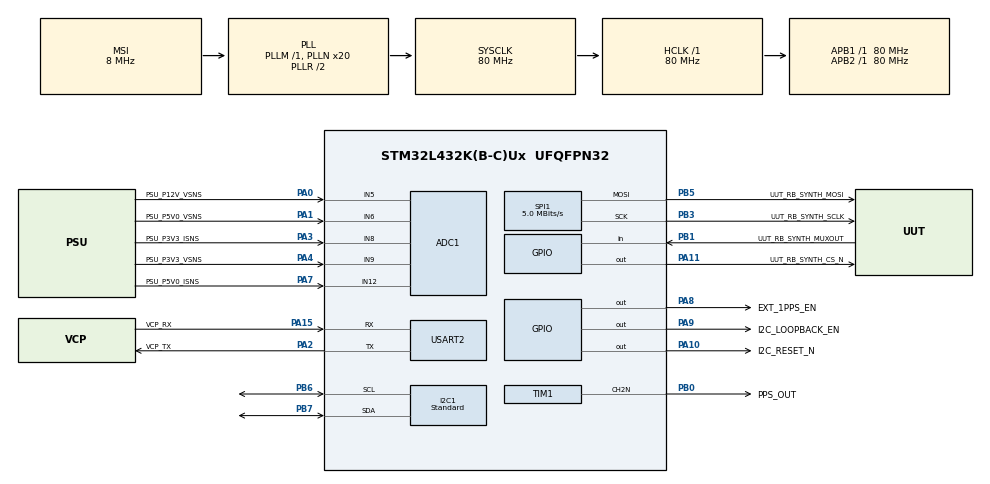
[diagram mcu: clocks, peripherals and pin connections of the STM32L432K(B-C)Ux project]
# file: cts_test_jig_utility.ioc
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ADC1.Channel-0\#ChannelRegularConversion=ADC_CHANNEL_5
ADC1.Channel-1\#ChannelRegularConversion=ADC_CHANNEL_6
ADC1.Channel-2\#ChannelRegularConversion=ADC_CHANNEL_8
ADC1.Channel-3\#ChannelRegularConversion=ADC_CHANNEL_9
ADC1.Channel-4\#ChannelRegularConversion=ADC_CHANNEL_12
ADC1.Channel-5\#ChannelRegularConversion=ADC_CHANNEL_VREFINT
ADC1.NbrOfConversion=6
ADC1.NbrOfConversionFlag=1
ADC1.OffsetNumber-0\#ChannelRegularConversion=ADC_OFFSET_NONE
ADC1.OffsetNumber-1\#ChannelRegularConversion=ADC_OFFSET_NONE
ADC1.OffsetNumber-2\#ChannelRegularConversion=ADC_OFFSET_NONE
ADC1.OffsetNumber-3\#ChannelRegularConversion=ADC_OFFSET_NONE
ADC1.OffsetNumber-4\#ChannelRegularConversion=ADC_OFFSET_NONE
ADC1.OffsetNumber-5\#ChannelRegularConversion=ADC_OFFSET_NONE
ADC1.Rank-0\#ChannelRegularConversion=1
ADC1.Rank-1\#ChannelRegularConversion=2
ADC1.Rank-2\#ChannelRegularConversion=3
ADC1.Rank-3\#ChannelRegularConversion=4
ADC1.Rank-4\#ChannelRegularConversion=5
ADC1.Rank-5\#ChannelRegularConversion=6
ADC1.SamplingTime-0\#ChannelRegularConversion=ADC_SAMPLETIME_47CYCLES_5
ADC1.SamplingTime-1\#ChannelRegularConversion=ADC_SAMPLETIME_47CYCLES_5
ADC1.SamplingTime-2\#ChannelRegularConversion=ADC_SAMPLETIME_47CYCLES_5
ADC1.SamplingTime-3\#ChannelRegularConversion=ADC_SAMPLETIME_47CYCLES_5
ADC1.SamplingTime-4\#ChannelRegularConversion=ADC_SAMPLETIME_47CYCLES_5
ADC1.SamplingTime-5\#ChannelRegularConversion=ADC_SAMPLETIME_47CYCLES_5
ADC1.master=1
Dma.ADC1.2.Direction=DMA_PERIPH_TO_MEMORY
Dma.ADC1.2.Instance=DMA2_Channel3
Dma.ADC1.2.MemDataAlignment=DMA_MDATAALIGN_HALFWORD
Dma.ADC1.2.MemInc=DMA_MINC_ENABLE
Dma.ADC1.2.Mode=DMA_NORMAL
Dma.ADC1.2.PeriphDataAlignment=DMA_PDATAALIGN_HALFWORD
Dma.ADC1.2.PeriphInc=DMA_PINC_DISABLE
Dma.ADC1.2.Priority=DMA_PRIORITY_MEDIUM
Dma.Request0=USART2_RX
Dma.Request1=USART2_TX
Dma.Request2=ADC1
Dma.USART2_RX.0.Direction=DMA_PERIPH_TO_MEMORY
Dma.USART2_RX.0.Instance=DMA1_Channel6
Dma.USART2_RX.0.MemDataAlignment=DMA_MDATAALIGN_BYTE
Dma.USART2_RX.0.MemInc=DMA_MINC_ENABLE
Dma.USART2_RX.0.Mode=DMA_CIRCULAR
Dma.USART2_RX.0.PeriphDataAlignment=DMA_PDATAALIGN_BYTE
Dma.USART2_RX.0.PeriphInc=DMA_PINC_DISABLE
Dma.USART2_RX.0.Priority=DMA_PRIORITY_HIGH
Dma.USART2_TX.1.Direction=DMA_MEMORY_TO_PERIPH
Dma.USART2_TX.1.Instance=DMA1_Channel7
Dma.USART2_TX.1.MemDataAlignment=DMA_MDATAALIGN_BYTE
Dma.USART2_TX.1.MemInc=DMA_MINC_ENABLE
Dma.USART2_TX.1.Mode=DMA_NORMAL
Dma.USART2_TX.1.PeriphDataAlignment=DMA_PDATAALIGN_BYTE
Dma.USART2_TX.1.PeriphInc=DMA_PINC_DISABLE
Dma.USART2_TX.1.Priority=DMA_PRIORITY_LOW
FREERTOS.BinarySemaphores01=uartTxSemaphore,Static,uartTxSemaphoreControlBlock;iotAdcSemaphore,Static,iotAdcSemaphoreControlBlock
FREERTOS.INCLUDE_vTaskDelayUntil=1
FREERTOS.Mutexes01=iotI2cMutex,Static,iotI2cMutexControlBlock
FREERTOS.Queues01=serialCmdRxdata,128,uint32_t,0,Static,serialCmdRxdataBuffer,serialCmdRxdataControlBlock;serialCmdTxdata,1500,uint32_t,0,Static,serialCmdTxdataBuffer,serialCmdTxdataControlBlock
FREERTOS.Tasks01=defaultTask,0,128,StartDefaultTask,Default,NULL,Static,defaultTaskBuffer,defaultTaskControlBlock;serialBufferTask,0,256,sbt_SerialBufferTask,As external,NULL,Static,serialBufferTaskBuffer,serialBufferTaskControlBlock;serialCmdTask,0,512,sct_SerialCmdTask,As external,NULL,Static,serialCmdTaskBuffer,serialCmdTaskControlBlock;ioTask,0,256,iot_IoTask,As external,NULL,Static,ioTaskBuffer,ioTaskControlBlock
FREERTOS.configMAX_TASK_NAME_LEN=32
I2C1.I2C_Speed_Mode=I2C_Standard
I2C1.Speed=100
I2C1.Timing=0x10909CEC
Mcu.Family=STM32L4
Mcu.Name=STM32L432K(B-C)Ux
Mcu.Package=UFQFPN32
NVIC.DMA1_Channel6_IRQn=true\:5\:0\:true\:false\:true\:true\:false\:false
NVIC.DMA1_Channel7_IRQn=true\:5\:0\:true\:false\:true\:true\:false\:false
NVIC.DMA2_Channel3_IRQn=true\:5\:0\:true\:false\:true\:true\:false\:false
NVIC.PriorityGroup=NVIC_PRIORITYGROUP_4
NVIC.TIM1_UP_TIM16_IRQn=true\:0\:0\:false\:false\:true\:false\:false\:true
NVIC.TimeBase=TIM1_UP_TIM16_IRQn
NVIC.TimeBaseIP=TIM16
NVIC.USART2_IRQn=true\:5\:0\:true\:false\:true\:false\:true\:false
PA0.GPIO_Label=PSU_P12V_VSNS
PA0.Signal=ADCx_IN5
PA1.GPIO_Label=PSU_P5V0_VSNS
PA1.Signal=ADCx_IN6
PA10.GPIO_Label=I2C_RESET_N
PA10.Signal=GPIO_Output
PA11.GPIO_Label=UUT_RB_SYNTH_CS_N
PA11.PinState=GPIO_PIN_SET
PA11.Signal=GPIO_Output
PA13\ (JTMS-SWDIO).GPIO_Label=SWDIO
PA13\ (JTMS-SWDIO).Mode=Serial_Wire
PA13\ (JTMS-SWDIO).Signal=SYS_JTMS-SWDIO
PA14\ (JTCK-SWCLK).GPIO_Label=SWCLK
PA14\ (JTCK-SWCLK).Mode=Serial_Wire
PA14\ (JTCK-SWCLK).Signal=SYS_JTCK-SWCLK
PA15\ (JTDI).GPIO_Label=VCP_RX
PA15\ (JTDI).Mode=Asynchronous
PA15\ (JTDI).Signal=USART2_RX
PA2.GPIO_Label=VCP_TX
PA2.Mode=Asynchronous
PA2.Signal=USART2_TX
PA3.GPIO_Label=PSU_P3V3_ISNS
PA3.Signal=ADCx_IN8
PA4.GPIO_Label=PSU_P3V3_VSNS
PA4.Signal=ADCx_IN9
PA7.GPIO_Label=PSU_P5V0_ISNS
PA7.Signal=ADCx_IN12
PA8.GPIO_Label=EXT_1PPS_EN
PA8.Signal=GPIO_Output
PA9.GPIO_Label=I2C_LOOPBACK_EN
PA9.PinState=GPIO_PIN_SET
PA9.Signal=GPIO_Output
PB0.GPIO_Label=PPS_OUT
PB0.Mode=PWM Generation2 CH2N
PB0.Signal=TIM1_CH2N
PB1.GPIO_Label=UUT_RB_SYNTH_MUXOUT
PB1.Signal=GPIO_Input
PB3\ (JTDO-TRACESWO).GPIO_Label=UUT_RB_SYNTH_SCLK
PB3\ (JTDO-TRACESWO).Mode=TX_Only_Simplex_Unidirect_Master
PB3\ (JTDO-TRACESWO).Signal=SPI1_SCK
PB5.GPIO_Label=UUT_RB_SYNTH_MOSI
PB5.Mode=TX_Only_Simplex_Unidirect_Master
PB5.Signal=SPI1_MOSI
PB6.Mode=I2C
PB6.Signal=I2C1_SCL
PB7.Mode=I2C
PB7.Signal=I2C1_SDA
PC14-OSC32_IN\ (PC14).Mode=LSE-External-Oscillator
PC14-OSC32_IN\ (PC14).Signal=RCC_OSC32_IN
PC15-OSC32_OUT\ (PC15).Mode=LSE-External-Oscillator
PC15-OSC32_OUT\ (PC15).Signal=RCC_OSC32_OUT
ProjectManager.HeapSize=0x200
ProjectManager.StackSize=0x400
ProjectManager.TargetToolchain=STM32CubeIDE
RCC.ADCFreq_Value=32000000
RCC.AHBFreq_Value=80000000
RCC.APB1Freq_Value=80000000
RCC.APB1TimFreq_Value=80000000
RCC.APB2Freq_Value=80000000
RCC.APB2TimFreq_Value=80000000
RCC.CortexFreq_Value=80000000
RCC.HCLKFreq_Value=80000000
RCC.HSE_VALUE=8000000
RCC.HSI16_VALUE=16000000
RCC.HSI48_VALUE=48000000
RCC.HSI_VALUE=16000000
RCC.MSIClockRange=RCC_MSIRANGE_7
RCC.MSI_VALUE=8000000
RCC.PLLMUL=RCC_PLLMUL_4
RCC.PLLN=20
RCC.SYSCLKFreq_VALUE=80000000
RCC.SYSCLKSource=RCC_SYSCLKSOURCE_PLLCLK
RCC.USBFreq_Value=32000000
RCC.VCOOutputFreq_Value=160000000
SH.ADCx_IN12.0=ADC1_IN12,IN12-Single-Ended
SH.ADCx_IN5.0=ADC1_IN5,IN5-Single-Ended
SH.ADCx_IN6.0=ADC1_IN6,IN6-Single-Ended
SH.ADCx_IN8.0=ADC1_IN8,IN8-Single-Ended
SH.ADCx_IN9.0=ADC1_IN9,IN9-Single-Ended
SPI1.BaudRatePrescaler=SPI_BAUDRATEPRESCALER_16
SPI1.CalculateBaudRate=5.0 MBits/s
SPI1.DataSize=SPI_DATASIZE_8BIT
SPI1.Direction=SPI_DIRECTION_2LINES
SPI1.Mode=SPI_MODE_MASTER
SPI1.NSSPMode=SPI_NSS_PULSE_ENABLE
SPI1.VirtualType=VM_MASTER
TIM1.Channel-PWM\ Generation2\ CH2N=TIM_CHANNEL_2
TIM1.OCFastMode_PWM-PWM\ Generation2\ CH2N=TIM_OCFAST_ENABLE
TIM1.Period=10000
TIM1.Prescaler=8000
TIM1.Pulse-PWM\ Generation2\ CH2N=100
USART2.VirtualMode-Asynchronous=VM_ASYNC
VP_ADC1_Vref_Input.Mode=IN-Vrefint
VP_FREERTOS_VS_CMSIS_V1.Mode=CMSIS_V1
VP_SYS_VS_tim16.Mode=TIM16
VP_TIM1_VS_ClockSourceINT.Mode=Internal
board=NUCLEO-L432KC

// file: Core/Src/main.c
/* USER CODE BEGIN Header */
/**
  ******************************************************************************
  * @file           : main.c
  * @brief          : Main program body
  ******************************************************************************
  * @attention
  *
  * <h2><center>&copy; Copyright (c) 2023 STMicroelectronics.
  * All rights reserved.</center></h2>
  *
  * This software component is licensed by ST under BSD 3-Clause license,
  * the "License"; You may not use this file except in compliance with the
  * License. You may obtain a copy of the License at:
  *                        opensource.org/licenses/BSD-3-Clause
  *
  ******************************************************************************
  */
/* USER CODE END Header */
#include "main.h"
#include "cmsis_os.h"

/* USER CODE BEGIN Includes */
#include "serial_buffer_task.h"
#include "serial_cmd_task.h"
#include "io_task.h"
/* USER CODE END Includes */

I2C_HandleTypeDef hi2c1;

SPI_HandleTypeDef hspi1;

TIM_HandleTypeDef htim1;

osThreadId defaultTaskHandle;
uint32_t defaultTaskBuffer[ 128 ];
osStaticThreadDef_t defaultTaskControlBlock;
osThreadId serialBufferTaskHandle;
uint32_t serialBufferTaskBuffer[ 256 ];
osStaticThreadDef_t serialBufferTaskControlBlock;
osThreadId serialCmdTaskHandle;
uint32_t serialCmdTaskBuffer[ 512 ];
osStaticThreadDef_t serialCmdTaskControlBlock;
osThreadId ioTaskHandle;
uint32_t ioTaskBuffer[ 256 ];
osStaticThreadDef_t ioTaskControlBlock;
osMessageQId serialCmdRxdataHandle;
uint8_t serialCmdRxdataBuffer[ 128 * sizeof( uint32_t ) ];
osStaticMessageQDef_t serialCmdRxdataControlBlock;
osMessageQId serialCmdTxdataHandle;
uint8_t serialCmdTxdataBuffer[ 1500 * sizeof( uint32_t ) ];
osStaticMessageQDef_t serialCmdTxdataControlBlock;
osMutexId iotI2cMutexHandle;
osStaticMutexDef_t iotI2cMutexControlBlock;
osSemaphoreId uartTxSemaphoreHandle;
osStaticSemaphoreDef_t uartTxSemaphoreControlBlock;
osSemaphoreId iotAdcSemaphoreHandle;
osStaticSemaphoreDef_t iotAdcSemaphoreControlBlock;

void SystemClock_Config(void);
static void MX_GPIO_Init(void);
static void MX_DMA_Init(void);
static void MX_I2C1_Init(void);
static void MX_SPI1_Init(void);
static void MX_USART2_UART_Init(void);
static void MX_ADC1_Init(void);
static void MX_TIM1_Init(void);
void StartDefaultTask(void const * argument);
extern void sbt_SerialBufferTask(void const * argument);
extern void sct_SerialCmdTask(void const * argument);
extern void iot_IoTask(void const * argument);

int main(void)
{
  /* USER CODE BEGIN 1 */
  sct_Init_t sct_init_data = {0};
  sbt_Init_t sbt_init_data = {0};
  iot_Init_t iot_init_data = {0};
  /* USER CODE END 1 */

  /* MCU Configuration--------------------------------------------------------*/

  /* Reset of all peripherals, Initializes the Flash interface and the Systick. */
  HAL_Init();

  /* Configure the system clock */
  SystemClock_Config();

  /* Initialize all configured peripherals */
  MX_GPIO_Init();
  MX_DMA_Init();
  MX_I2C1_Init();
  MX_SPI1_Init();
  MX_USART2_UART_Init();
  MX_ADC1_Init();
  MX_TIM1_Init();

  /* Create the mutex(es) */
  /* definition and creation of iotI2cMutex */
  osMutexStaticDef(iotI2cMutex, &iotI2cMutexControlBlock);
  iotI2cMutexHandle = osMutexCreate(osMutex(iotI2cMutex));

  /* Create the semaphores(s) */
  /* definition and creation of uartTxSemaphore */
  osSemaphoreStaticDef(uartTxSemaphore, &uartTxSemaphoreControlBlock);
  uartTxSemaphoreHandle = osSemaphoreCreate(osSemaphore(uartTxSemaphore), 1);

  /* definition and creation of iotAdcSemaphore */
  osSemaphoreStaticDef(iotAdcSemaphore, &iotAdcSemaphoreControlBlock);
  iotAdcSemaphoreHandle = osSemaphoreCreate(osSemaphore(iotAdcSemaphore), 1);

  /* Create the queue(s) */
  /* definition and creation of serialCmdRxdata */
  osMessageQStaticDef(serialCmdRxdata, 128, uint32_t, serialCmdRxdataBuffer, &serialCmdRxdataControlBlock);
  serialCmdRxdataHandle = osMessageCreate(osMessageQ(serialCmdRxdata), NULL);

  /* definition and creation of serialCmdTxdata */
  osMessageQStaticDef(serialCmdTxdata, 1500, uint32_t, serialCmdTxdataBuffer, &serialCmdTxdataControlBlock);
  serialCmdTxdataHandle = osMessageCreate(osMessageQ(serialCmdTxdata), NULL);

  /* Create the thread(s) */
  /* definition and creation of defaultTask */
  osThreadStaticDef(defaultTask, StartDefaultTask, osPriorityNormal, 0, 128, defaultTaskBuffer, &defaultTaskControlBlock);
  defaultTaskHandle = osThreadCreate(osThread(defaultTask), NULL);

  /* definition and creation of serialBufferTask */
  osThreadStaticDef(serialBufferTask, sbt_SerialBufferTask, osPriorityNormal, 0, 256, serialBufferTaskBuffer, &serialBufferTaskControlBlock);
  serialBufferTaskHandle = osThreadCreate(osThread(serialBufferTask), NULL);

  /* definition and creation of serialCmdTask */
  osThreadStaticDef(serialCmdTask, sct_SerialCmdTask, osPriorityNormal, 0, 512, serialCmdTaskBuffer, &serialCmdTaskControlBlock);
  serialCmdTaskHandle = osThreadCreate(osThread(serialCmdTask), NULL);

  /* definition and creation of ioTask */
  osThreadStaticDef(ioTask, iot_IoTask, osPriorityNormal, 0, 256, ioTaskBuffer, &ioTaskControlBlock);
  ioTaskHandle = osThreadCreate(osThread(ioTask), NULL);

  /* USER CODE BEGIN RTOS_THREADS */
  /* add threads, ... */
  iot_init_data.i2c_device = &hi2c1;
  iot_init_data.i2c_mutex = iotI2cMutexHandle;
  iot_init_data.i2c_reset_gpio_port = I2C_RESET_N_GPIO_Port;
  iot_init_data.i2c_reset_gpio_pin = I2C_RESET_N_Pin;
  iot_init_data.pps_out_htim = &htim1;
  iot_init_data.pps_out_channel = TIM_CHANNEL_2;
  iot_init_data.pps_ext_en_gpio_port = EXT_1PPS_EN_GPIO_Port;
  iot_init_data.pps_ext_en_gpio_pin = EXT_1PPS_EN_Pin;
  iot_init_data.adc_device = ADC1;
  iot_init_data.adc_dma_device = DMA2;
  iot_init_data.adc_dma_channel = LL_DMA_CHANNEL_3;
  iot_init_data.adc_semaphore = iotAdcSemaphoreHandle;
  iot_init_data.spi_device = &hspi1;
  iot_init_data.spi_ncs_gpio_port = UUT_RB_SYNTH_CS_N_GPIO_Port;
  iot_init_data.spi_ncs_gpio_pin = UUT_RB_SYNTH_CS_N_Pin;
  iot_init_data.synth_ld_gpio_port = UUT_RB_SYNTH_MUXOUT_GPIO_Port;
  iot_init_data.synth_ld_gpio_pin = UUT_RB_SYNTH_MUXOUT_Pin;
  iot_init_data.i2c_lb_en_gpio_port = I2C_LOOPBACK_EN_GPIO_Port;
  iot_init_data.i2c_lb_en_gpio_pin = I2C_LOOPBACK_EN_Pin;
  iot_InitTask(iot_init_data);

  sbt_init_data.no_uarts					= 1;
  sbt_init_data.uarts[0].huart 				= USART2;
  sbt_init_data.uarts[0].dma_device 		= DMA1;
  sbt_init_data.uarts[0].rx_dma_channel 	= LL_DMA_CHANNEL_6;
  sbt_init_data.uarts[0].rx_data_queue	 	= serialCmdRxdataHandle;
  sbt_init_data.uarts[0].tx_dma_channel 	= LL_DMA_CHANNEL_7;
  sbt_init_data.uarts[0].tx_semaphore 		= uartTxSemaphoreHandle;
  sbt_init_data.uarts[0].tx_data_queue 		= serialCmdTxdataHandle;
  sbt_InitTask(sbt_init_data);

  sct_init_data.tx_data_queue	= serialCmdTxdataHandle;
  sct_init_data.rx_data_queue	= serialCmdRxdataHandle;
  sct_InitTask(sct_init_data);
  /* USER CODE END RTOS_THREADS */

  /* Start scheduler */
  osKernelStart();

  /* We should never get here as control is now taken by the scheduler */
  /* Infinite loop */
  while (1)
  {

  }
}

void SystemClock_Config(void)
{
  RCC_OscInitTypeDef RCC_OscInitStruct = {0};
  RCC_ClkInitTypeDef RCC_ClkInitStruct = {0};
  RCC_PeriphCLKInitTypeDef PeriphClkInit = {0};

  /** Configure LSE Drive Capability
  */
  HAL_PWR_EnableBkUpAccess();
  __HAL_RCC_LSEDRIVE_CONFIG(RCC_LSEDRIVE_LOW);
  /** Initializes the RCC Oscillators according to the specified parameters
  * in the RCC_OscInitTypeDef structure.
  */
  RCC_OscInitStruct.OscillatorType = RCC_OSCILLATORTYPE_LSE|RCC_OSCILLATORTYPE_MSI;
  RCC_OscInitStruct.LSEState = RCC_LSE_ON;
  RCC_OscInitStruct.MSIState = RCC_MSI_ON;
  RCC_OscInitStruct.MSICalibrationValue = 0;
  RCC_OscInitStruct.MSIClockRange = RCC_MSIRANGE_7;
  RCC_OscInitStruct.PLL.PLLState = RCC_PLL_ON;
  RCC_OscInitStruct.PLL.PLLSource = RCC_PLLSOURCE_MSI;
  RCC_OscInitStruct.PLL.PLLM = 1;
  RCC_OscInitStruct.PLL.PLLN = 20;
  RCC_OscInitStruct.PLL.PLLP = RCC_PLLP_DIV7;
  RCC_OscInitStruct.PLL.PLLQ = RCC_PLLQ_DIV2;
  RCC_OscInitStruct.PLL.PLLR = RCC_PLLR_DIV2;
  if (HAL_RCC_OscConfig(&RCC_OscInitStruct) != HAL_OK)
  {
    Error_Handler();
  }
  /** Initializes the CPU, AHB and APB buses clocks
  */
  RCC_ClkInitStruct.ClockType = RCC_CLOCKTYPE_HCLK|RCC_CLOCKTYPE_SYSCLK
                              |RCC_CLOCKTYPE_PCLK1|RCC_CLOCKTYPE_PCLK2;
  RCC_ClkInitStruct.SYSCLKSource = RCC_SYSCLKSOURCE_PLLCLK;
  RCC_ClkInitStruct.AHBCLKDivider = RCC_SYSCLK_DIV1;
  RCC_ClkInitStruct.APB1CLKDivider = RCC_HCLK_DIV1;
  RCC_ClkInitStruct.APB2CLKDivider = RCC_HCLK_DIV1;

  if (HAL_RCC_ClockConfig(&RCC_ClkInitStruct, FLASH_LATENCY_4) != HAL_OK)
  {
    Error_Handler();
  }
  PeriphClkInit.PeriphClockSelection = RCC_PERIPHCLK_USART2|RCC_PERIPHCLK_I2C1
                              |RCC_PERIPHCLK_ADC;
  PeriphClkInit.Usart2ClockSelection = RCC_USART2CLKSOURCE_PCLK1;
  PeriphClkInit.I2c1ClockSelection = RCC_I2C1CLKSOURCE_PCLK1;
  PeriphClkInit.AdcClockSelection = RCC_ADCCLKSOURCE_PLLSAI1;
  PeriphClkInit.PLLSAI1.PLLSAI1Source = RCC_PLLSOURCE_MSI;
  PeriphClkInit.PLLSAI1.PLLSAI1M = 1;
  PeriphClkInit.PLLSAI1.PLLSAI1N = 8;
  PeriphClkInit.PLLSAI1.PLLSAI1P = RCC_PLLP_DIV7;
  PeriphClkInit.PLLSAI1.PLLSAI1Q = RCC_PLLQ_DIV2;
  PeriphClkInit.PLLSAI1.PLLSAI1R = RCC_PLLR_DIV2;
  PeriphClkInit.PLLSAI1.PLLSAI1ClockOut = RCC_PLLSAI1_ADC1CLK;
  if (HAL_RCCEx_PeriphCLKConfig(&PeriphClkInit) != HAL_OK)
  {
    Error_Handler();
  }
  /** Configure the main internal regulator output voltage
  */
  if (HAL_PWREx_ControlVoltageScaling(PWR_REGULATOR_VOLTAGE_SCALE1) != HAL_OK)
  {
    Error_Handler();
  }
  /** Enable MSI Auto calibration
  */
  HAL_RCCEx_EnableMSIPLLMode();
}

static void MX_ADC1_Init(void)
{

  LL_ADC_InitTypeDef ADC_InitStruct = {0};
  LL_ADC_REG_InitTypeDef ADC_REG_InitStruct = {0};
  LL_ADC_CommonInitTypeDef ADC_CommonInitStruct = {0};

  LL_GPIO_InitTypeDef GPIO_InitStruct = {0};

  /* Peripheral clock enable */
  LL_AHB2_GRP1_EnableClock(LL_AHB2_GRP1_PERIPH_ADC);

  LL_AHB2_GRP1_EnableClock(LL_AHB2_GRP1_PERIPH_GPIOA);
  /**ADC1 GPIO Configuration
  PA0   ------> ADC1_IN5
  PA1   ------> ADC1_IN6
  PA3   ------> ADC1_IN8
  PA4   ------> ADC1_IN9
  PA7   ------> ADC1_IN12
  */
  GPIO_InitStruct.Pin = LL_GPIO_PIN_0|LL_GPIO_PIN_1|LL_GPIO_PIN_3|LL_GPIO_PIN_4
                          |LL_GPIO_PIN_7;
  GPIO_InitStruct.Mode = LL_GPIO_MODE_ANALOG;
  GPIO_InitStruct.Pull = LL_GPIO_PULL_NO;
  LL_GPIO_Init(GPIOA, &GPIO_InitStruct);

  /* ADC1 DMA Init */

  /* ADC1 Init */
  LL_DMA_SetPeriphRequest(DMA2, LL_DMA_CHANNEL_3, LL_DMA_REQUEST_0);

  LL_DMA_SetDataTransferDirection(DMA2, LL_DMA_CHANNEL_3, LL_DMA_DIRECTION_PERIPH_TO_MEMORY);

  LL_DMA_SetChannelPriorityLevel(DMA2, LL_DMA_CHANNEL_3, LL_DMA_PRIORITY_MEDIUM);

  LL_DMA_SetMode(DMA2, LL_DMA_CHANNEL_3, LL_DMA_MODE_NORMAL);

  LL_DMA_SetPeriphIncMode(DMA2, LL_DMA_CHANNEL_3, LL_DMA_PERIPH_NOINCREMENT);

  LL_DMA_SetMemoryIncMode(DMA2, LL_DMA_CHANNEL_3, LL_DMA_MEMORY_INCREMENT);

  LL_DMA_SetPeriphSize(DMA2, LL_DMA_CHANNEL_3, LL_DMA_PDATAALIGN_HALFWORD);

  LL_DMA_SetMemorySize(DMA2, LL_DMA_CHANNEL_3, LL_DMA_MDATAALIGN_HALFWORD);

  /** Common config
  */
  ADC_InitStruct.Resolution = LL_ADC_RESOLUTION_12B;
  ADC_InitStruct.DataAlignment = LL_ADC_DATA_ALIGN_RIGHT;
  ADC_InitStruct.LowPowerMode = LL_ADC_LP_MODE_NONE;
  LL_ADC_Init(ADC1, &ADC_InitStruct);
  ADC_REG_InitStruct.TriggerSource = LL_ADC_REG_TRIG_SOFTWARE;
  ADC_REG_InitStruct.SequencerLength = LL_ADC_REG_SEQ_SCAN_ENABLE_6RANKS;
  ADC_REG_InitStruct.SequencerDiscont = LL_ADC_REG_SEQ_DISCONT_DISABLE;
  ADC_REG_InitStruct.ContinuousMode = LL_ADC_REG_CONV_SINGLE;
  ADC_REG_InitStruct.DMATransfer = LL_ADC_REG_DMA_TRANSFER_LIMITED;
  ADC_REG_InitStruct.Overrun = LL_ADC_REG_OVR_DATA_PRESERVED;
  LL_ADC_REG_Init(ADC1, &ADC_REG_InitStruct);
  LL_ADC_SetCommonPathInternalCh(__LL_ADC_COMMON_INSTANCE(ADC1), LL_ADC_PATH_INTERNAL_VREFINT);

   /* Disable ADC deep power down (enabled by default after reset state) */
   LL_ADC_DisableDeepPowerDown(ADC1);
   /* Enable ADC internal voltage regulator */
   LL_ADC_EnableInternalRegulator(ADC1);
   /* Delay for ADC internal voltage regulator stabilization. */
   /* Compute number of CPU cycles to wait for, from delay in us. */
   /* Note: Variable divided by 2 to compensate partially */
   /* CPU processing cycles (depends on compilation optimization). */
   /* Note: If system core clock frequency is below 200kHz, wait time */
   /* is only a few CPU processing cycles. */
   uint32_t wait_loop_index;
   wait_loop_index = ((LL_ADC_DELAY_INTERNAL_REGUL_STAB_US * (SystemCoreClock / (100000 * 2))) / 10);
   while(wait_loop_index != 0)
     {
   wait_loop_index--;
     }
  ADC_CommonInitStruct.CommonClock = LL_ADC_CLOCK_ASYNC_DIV1;
  LL_ADC_CommonInit(__LL_ADC_COMMON_INSTANCE(ADC1), &ADC_CommonInitStruct);
  /** Configure Regular Channel
  */
  LL_ADC_REG_SetSequencerRanks(ADC1, LL_ADC_REG_RANK_1, LL_ADC_CHANNEL_5);
  LL_ADC_SetChannelSamplingTime(ADC1, LL_ADC_CHANNEL_5, LL_ADC_SAMPLINGTIME_47CYCLES_5);
  LL_ADC_SetChannelSingleDiff(ADC1, LL_ADC_CHANNEL_5, LL_ADC_SINGLE_ENDED);
  /** Configure Regular Channel
  */
  LL_ADC_REG_SetSequencerRanks(ADC1, LL_ADC_REG_RANK_2, LL_ADC_CHANNEL_6);
  LL_ADC_SetChannelSamplingTime(ADC1, LL_ADC_CHANNEL_6, LL_ADC_SAMPLINGTIME_47CYCLES_5);
  LL_ADC_SetChannelSingleDiff(ADC1, LL_ADC_CHANNEL_6, LL_ADC_SINGLE_ENDED);
  /** Configure Regular Channel
  */
  LL_ADC_REG_SetSequencerRanks(ADC1, LL_ADC_REG_RANK_3, LL_ADC_CHANNEL_8);
  LL_ADC_SetChannelSamplingTime(ADC1, LL_ADC_CHANNEL_8, LL_ADC_SAMPLINGTIME_47CYCLES_5);
  LL_ADC_SetChannelSingleDiff(ADC1, LL_ADC_CHANNEL_8, LL_ADC_SINGLE_ENDED);
  /** Configure Regular Channel
  */
  LL_ADC_REG_SetSequencerRanks(ADC1, LL_ADC_REG_RANK_4, LL_ADC_CHANNEL_9);
  LL_ADC_SetChannelSamplingTime(ADC1, LL_ADC_CHANNEL_9, LL_ADC_SAMPLINGTIME_47CYCLES_5);
  LL_ADC_SetChannelSingleDiff(ADC1, LL_ADC_CHANNEL_9, LL_ADC_SINGLE_ENDED);
  /** Configure Regular Channel
  */
  LL_ADC_REG_SetSequencerRanks(ADC1, LL_ADC_REG_RANK_5, LL_ADC_CHANNEL_12);
  LL_ADC_SetChannelSamplingTime(ADC1, LL_ADC_CHANNEL_12, LL_ADC_SAMPLINGTIME_47CYCLES_5);
  LL_ADC_SetChannelSingleDiff(ADC1, LL_ADC_CHANNEL_12, LL_ADC_SINGLE_ENDED);
  /** Configure Regular Channel
  */
  LL_ADC_REG_SetSequencerRanks(ADC1, LL_ADC_REG_RANK_6, LL_ADC_PATH_INTERNAL_VREFINT);
  LL_ADC_SetChannelSamplingTime(ADC1, LL_ADC_PATH_INTERNAL_VREFINT, LL_ADC_SAMPLINGTIME_47CYCLES_5);
  LL_ADC_SetChannelSingleDiff(ADC1, LL_ADC_PATH_INTERNAL_VREFINT, LL_ADC_SINGLE_ENDED);

}

static void MX_I2C1_Init(void)
{

  hi2c1.Instance = I2C1;
  hi2c1.Init.Timing = 0x10909CEC;
  hi2c1.Init.OwnAddress1 = 0;
  hi2c1.Init.AddressingMode = I2C_ADDRESSINGMODE_7BIT;
  hi2c1.Init.DualAddressMode = I2C_DUALADDRESS_DISABLE;
  hi2c1.Init.OwnAddress2 = 0;
  hi2c1.Init.OwnAddress2Masks = I2C_OA2_NOMASK;
  hi2c1.Init.GeneralCallMode = I2C_GENERALCALL_DISABLE;
  hi2c1.Init.NoStretchMode = I2C_NOSTRETCH_DISABLE;
  if (HAL_I2C_Init(&hi2c1) != HAL_OK)
  {
    Error_Handler();
  }
  /** Configure Analogue filter
  */
  if (HAL_I2CEx_ConfigAnalogFilter(&hi2c1, I2C_ANALOGFILTER_ENABLE) != HAL_OK)
  {
    Error_Handler();
  }
  /** Configure Digital filter
  */
  if (HAL_I2CEx_ConfigDigitalFilter(&hi2c1, 0) != HAL_OK)
  {
    Error_Handler();
  }

}

static void MX_SPI1_Init(void)
{

  /* SPI1 parameter configuration*/
  hspi1.Instance = SPI1;
  hspi1.Init.Mode = SPI_MODE_MASTER;
  hspi1.Init.Direction = SPI_DIRECTION_2LINES;
  hspi1.Init.DataSize = SPI_DATASIZE_8BIT;
  hspi1.Init.CLKPolarity = SPI_POLARITY_LOW;
  hspi1.Init.CLKPhase = SPI_PHASE_1EDGE;
  hspi1.Init.NSS = SPI_NSS_SOFT;
  hspi1.Init.BaudRatePrescaler = SPI_BAUDRATEPRESCALER_16;
  hspi1.Init.FirstBit = SPI_FIRSTBIT_MSB;
  hspi1.Init.TIMode = SPI_TIMODE_DISABLE;
  hspi1.Init.CRCCalculation = SPI_CRCCALCULATION_DISABLE;
  hspi1.Init.CRCPolynomial = 7;
  hspi1.Init.CRCLength = SPI_CRC_LENGTH_DATASIZE;
  hspi1.Init.NSSPMode = SPI_NSS_PULSE_ENABLE;
  if (HAL_SPI_Init(&hspi1) != HAL_OK)
  {
    Error_Handler();
  }

}

static void MX_TIM1_Init(void)
{

  TIM_ClockConfigTypeDef sClockSourceConfig = {0};
  TIM_MasterConfigTypeDef sMasterConfig = {0};
  TIM_OC_InitTypeDef sConfigOC = {0};
  TIM_BreakDeadTimeConfigTypeDef sBreakDeadTimeConfig = {0};

  htim1.Instance = TIM1;
  htim1.Init.Prescaler = 8000;
  htim1.Init.CounterMode = TIM_COUNTERMODE_UP;
  htim1.Init.Period = 10000;
  htim1.Init.ClockDivision = TIM_CLOCKDIVISION_DIV1;
  htim1.Init.RepetitionCounter = 0;
  htim1.Init.AutoReloadPreload = TIM_AUTORELOAD_PRELOAD_DISABLE;
  if (HAL_TIM_Base_Init(&htim1) != HAL_OK)
  {
    Error_Handler();
  }
  sClockSourceConfig.ClockSource = TIM_CLOCKSOURCE_INTERNAL;
  if (HAL_TIM_ConfigClockSource(&htim1, &sClockSourceConfig) != HAL_OK)
  {
    Error_Handler();
  }
  if (HAL_TIM_PWM_Init(&htim1) != HAL_OK)
  {
    Error_Handler();
  }
  sMasterConfig.MasterOutputTrigger = TIM_TRGO_RESET;
  sMasterConfig.MasterOutputTrigger2 = TIM_TRGO2_RESET;
  sMasterConfig.MasterSlaveMode = TIM_MASTERSLAVEMODE_DISABLE;
  if (HAL_TIMEx_MasterConfigSynchronization(&htim1, &sMasterConfig) != HAL_OK)
  {
    Error_Handler();
  }
  sConfigOC.OCMode = TIM_OCMODE_PWM1;
  sConfigOC.Pulse = 100;
  sConfigOC.OCPolarity = TIM_OCPOLARITY_HIGH;
  sConfigOC.OCNPolarity = TIM_OCNPOLARITY_HIGH;
  sConfigOC.OCFastMode = TIM_OCFAST_ENABLE;
  sConfigOC.OCIdleState = TIM_OCIDLESTATE_RESET;
  sConfigOC.OCNIdleState = TIM_OCNIDLESTATE_RESET;
  if (HAL_TIM_PWM_ConfigChannel(&htim1, &sConfigOC, TIM_CHANNEL_2) != HAL_OK)
  {
    Error_Handler();
  }
  sBreakDeadTimeConfig.OffStateRunMode = TIM_OSSR_DISABLE;
  sBreakDeadTimeConfig.OffStateIDLEMode = TIM_OSSI_DISABLE;
  sBreakDeadTimeConfig.LockLevel = TIM_LOCKLEVEL_OFF;
  sBreakDeadTimeConfig.DeadTime = 0;
  sBreakDeadTimeConfig.BreakState = TIM_BREAK_DISABLE;
  sBreakDeadTimeConfig.BreakPolarity = TIM_BREAKPOLARITY_HIGH;
  sBreakDeadTimeConfig.BreakFilter = 0;
  sBreakDeadTimeConfig.Break2State = TIM_BREAK2_DISABLE;
  sBreakDeadTimeConfig.Break2Polarity = TIM_BREAK2POLARITY_HIGH;
  sBreakDeadTimeConfig.Break2Filter = 0;
  sBreakDeadTimeConfig.AutomaticOutput = TIM_AUTOMATICOUTPUT_DISABLE;
  if (HAL_TIMEx_ConfigBreakDeadTime(&htim1, &sBreakDeadTimeConfig) != HAL_OK)
  {
    Error_Handler();
  }
  HAL_TIM_MspPostInit(&htim1);

}

static void MX_USART2_UART_Init(void)
{

  LL_USART_InitTypeDef USART_InitStruct = {0};

  LL_GPIO_InitTypeDef GPIO_InitStruct = {0};

  /* Peripheral clock enable */
  LL_APB1_GRP1_EnableClock(LL_APB1_GRP1_PERIPH_USART2);

  LL_AHB2_GRP1_EnableClock(LL_AHB2_GRP1_PERIPH_GPIOA);
  /**USART2 GPIO Configuration
  PA2   ------> USART2_TX
  PA15 (JTDI)   ------> USART2_RX
  */
  GPIO_InitStruct.Pin = LL_GPIO_PIN_2;
  GPIO_InitStruct.Mode = LL_GPIO_MODE_ALTERNATE;
  GPIO_InitStruct.Speed = LL_GPIO_SPEED_FREQ_VERY_HIGH;
  GPIO_InitStruct.OutputType = LL_GPIO_OUTPUT_PUSHPULL;
  GPIO_InitStruct.Pull = LL_GPIO_PULL_NO;
  GPIO_InitStruct.Alternate = LL_GPIO_AF_7;
  LL_GPIO_Init(GPIOA, &GPIO_InitStruct);

  GPIO_InitStruct.Pin = LL_GPIO_PIN_15;
  GPIO_InitStruct.Mode = LL_GPIO_MODE_ALTERNATE;
  GPIO_InitStruct.Speed = LL_GPIO_SPEED_FREQ_VERY_HIGH;
  GPIO_InitStruct.OutputType = LL_GPIO_OUTPUT_PUSHPULL;
  GPIO_InitStruct.Pull = LL_GPIO_PULL_NO;
  GPIO_InitStruct.Alternate = LL_GPIO_AF_3;
  LL_GPIO_Init(GPIOA, &GPIO_InitStruct);

  /* USART2 DMA Init */

  /* USART2_RX Init */
  LL_DMA_SetPeriphRequest(DMA1, LL_DMA_CHANNEL_6, LL_DMA_REQUEST_2);

  LL_DMA_SetDataTransferDirection(DMA1, LL_DMA_CHANNEL_6, LL_DMA_DIRECTION_PERIPH_TO_MEMORY);

  LL_DMA_SetChannelPriorityLevel(DMA1, LL_DMA_CHANNEL_6, LL_DMA_PRIORITY_HIGH);

  LL_DMA_SetMode(DMA1, LL_DMA_CHANNEL_6, LL_DMA_MODE_CIRCULAR);

  LL_DMA_SetPeriphIncMode(DMA1, LL_DMA_CHANNEL_6, LL_DMA_PERIPH_NOINCREMENT);

  LL_DMA_SetMemoryIncMode(DMA1, LL_DMA_CHANNEL_6, LL_DMA_MEMORY_INCREMENT);

  LL_DMA_SetPeriphSize(DMA1, LL_DMA_CHANNEL_6, LL_DMA_PDATAALIGN_BYTE);

  LL_DMA_SetMemorySize(DMA1, LL_DMA_CHANNEL_6, LL_DMA_MDATAALIGN_BYTE);

  /* USART2_TX Init */
  LL_DMA_SetPeriphRequest(DMA1, LL_DMA_CHANNEL_7, LL_DMA_REQUEST_2);

  LL_DMA_SetDataTransferDirection(DMA1, LL_DMA_CHANNEL_7, LL_DMA_DIRECTION_MEMORY_TO_PERIPH);

  LL_DMA_SetChannelPriorityLevel(DMA1, LL_DMA_CHANNEL_7, LL_DMA_PRIORITY_LOW);

  LL_DMA_SetMode(DMA1, LL_DMA_CHANNEL_7, LL_DMA_MODE_NORMAL);

  LL_DMA_SetPeriphIncMode(DMA1, LL_DMA_CHANNEL_7, LL_DMA_PERIPH_NOINCREMENT);

  LL_DMA_SetMemoryIncMode(DMA1, LL_DMA_CHANNEL_7, LL_DMA_MEMORY_INCREMENT);

  LL_DMA_SetPeriphSize(DMA1, LL_DMA_CHANNEL_7, LL_DMA_PDATAALIGN_BYTE);

  LL_DMA_SetMemorySize(DMA1, LL_DMA_CHANNEL_7, LL_DMA_MDATAALIGN_BYTE);

  /* USART2 interrupt Init */
  NVIC_SetPriority(USART2_IRQn, NVIC_EncodePriority(NVIC_GetPriorityGrouping(),5, 0));
  NVIC_EnableIRQ(USART2_IRQn);

  USART_InitStruct.BaudRate = 115200;
  USART_InitStruct.DataWidth = LL_USART_DATAWIDTH_8B;
  USART_InitStruct.StopBits = LL_USART_STOPBITS_1;
  USART_InitStruct.Parity = LL_USART_PARITY_NONE;
  USART_InitStruct.TransferDirection = LL_USART_DIRECTION_TX_RX;
  USART_InitStruct.HardwareFlowControl = LL_USART_HWCONTROL_NONE;
  USART_InitStruct.OverSampling = LL_USART_OVERSAMPLING_16;
  LL_USART_Init(USART2, &USART_InitStruct);
  LL_USART_ConfigAsyncMode(USART2);
  LL_USART_Enable(USART2);

}

static void MX_DMA_Init(void)
{

  /* Init with LL driver */
  /* DMA controller clock enable */
  LL_AHB1_GRP1_EnableClock(LL_AHB1_GRP1_PERIPH_DMA1);
  LL_AHB1_GRP1_EnableClock(LL_AHB1_GRP1_PERIPH_DMA2);

  /* DMA interrupt init */
  /* DMA1_Channel6_IRQn interrupt configuration */
  NVIC_SetPriority(DMA1_Channel6_IRQn, NVIC_EncodePriority(NVIC_GetPriorityGrouping(),5, 0));
  NVIC_EnableIRQ(DMA1_Channel6_IRQn);
  /* DMA1_Channel7_IRQn interrupt configuration */
  NVIC_SetPriority(DMA1_Channel7_IRQn, NVIC_EncodePriority(NVIC_GetPriorityGrouping(),5, 0));
  NVIC_EnableIRQ(DMA1_Channel7_IRQn);
  /* DMA2_Channel3_IRQn interrupt configuration */
  NVIC_SetPriority(DMA2_Channel3_IRQn, NVIC_EncodePriority(NVIC_GetPriorityGrouping(),5, 0));
  NVIC_EnableIRQ(DMA2_Channel3_IRQn);

}

static void MX_GPIO_Init(void)
{
  GPIO_InitTypeDef GPIO_InitStruct = {0};

  /* GPIO Ports Clock Enable */
  __HAL_RCC_GPIOC_CLK_ENABLE();
  __HAL_RCC_GPIOA_CLK_ENABLE();
  __HAL_RCC_GPIOB_CLK_ENABLE();

  /*Configure GPIO pin Output Level */
  HAL_GPIO_WritePin(GPIOA, EXT_1PPS_EN_Pin|I2C_RESET_N_Pin, GPIO_PIN_RESET);

  /*Configure GPIO pin Output Level */
  HAL_GPIO_WritePin(GPIOA, I2C_LOOPBACK_EN_Pin|UUT_RB_SYNTH_CS_N_Pin, GPIO_PIN_SET);

  /*Configure GPIO pin : UUT_RB_SYNTH_MUXOUT_Pin */
  GPIO_InitStruct.Pin = UUT_RB_SYNTH_MUXOUT_Pin;
  GPIO_InitStruct.Mode = GPIO_MODE_INPUT;
  GPIO_InitStruct.Pull = GPIO_NOPULL;
  HAL_GPIO_Init(UUT_RB_SYNTH_MUXOUT_GPIO_Port, &GPIO_InitStruct);

  /*Configure GPIO pins : EXT_1PPS_EN_Pin I2C_LOOPBACK_EN_Pin I2C_RESET_N_Pin UUT_RB_SYNTH_CS_N_Pin */
  GPIO_InitStruct.Pin = EXT_1PPS_EN_Pin|I2C_LOOPBACK_EN_Pin|I2C_RESET_N_Pin|UUT_RB_SYNTH_CS_N_Pin;
  GPIO_InitStruct.Mode = GPIO_MODE_OUTPUT_PP;
  GPIO_InitStruct.Pull = GPIO_NOPULL;
  GPIO_InitStruct.Speed = GPIO_SPEED_FREQ_LOW;
  HAL_GPIO_Init(GPIOA, &GPIO_InitStruct);

}

void StartDefaultTask(void const * argument)
{
  for(;;)
  {
    osDelay(1);
  }
}

void HAL_TIM_PeriodElapsedCallback(TIM_HandleTypeDef *htim)
{
  if (htim->Instance == TIM16) {
    HAL_IncTick();
  }
}

void Error_Handler(void)
{
}

/************************ (C) COPYRIGHT STMicroelectronics *****END OF FILE****/
